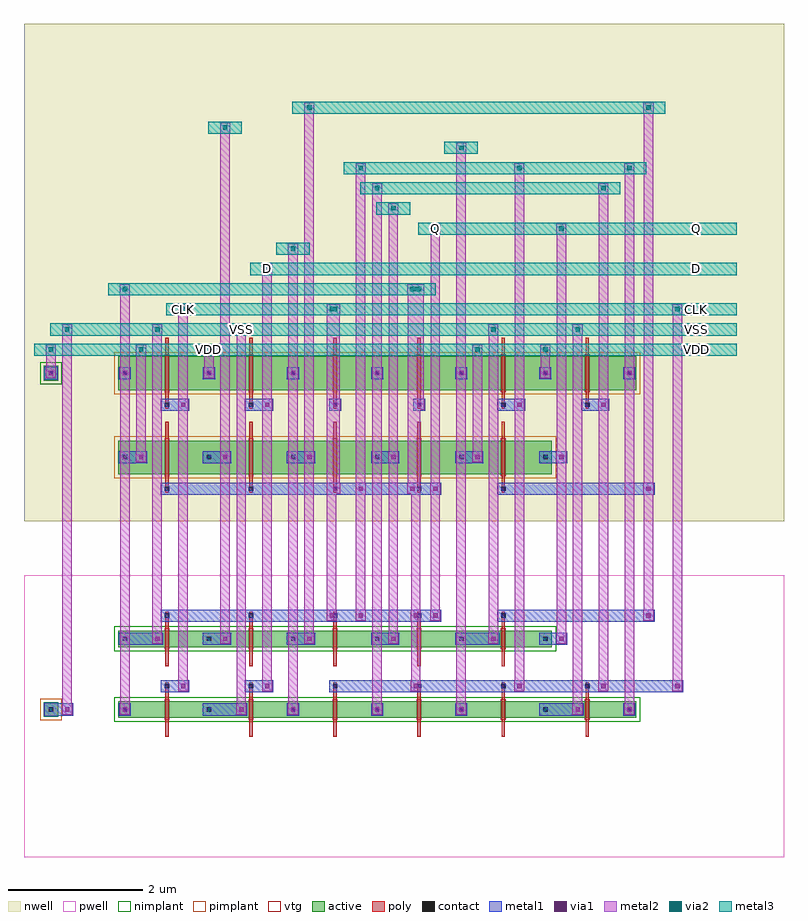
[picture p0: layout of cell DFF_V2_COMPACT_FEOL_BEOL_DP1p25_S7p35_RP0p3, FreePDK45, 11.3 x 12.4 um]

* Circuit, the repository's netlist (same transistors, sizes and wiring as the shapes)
* cell DFF_V2_COMPACT_FEOL_BEOL_DP1p25_S7p35_RP0p3
* pin D
* pin CLK,Q
* pin VDD
* pin VSS
.SUBCKT DFF_V2_COMPACT_FEOL_BEOL_DP1p25_S7p35_RP0p3 2 4 8 9
* net 2 D
* net 4 CLK,Q
* net 8 VDD
* net 9 VSS
* device instance $1 r0 *1 1.825,7 PMOS_VTG
M$1 8 4 4 8 PMOS_VTG L=0.05U W=1U AS=0.65P AD=0.65P PS=4.1U PD=4.1U
* device instance $2 r0 *1 3.075,7 PMOS_VTG
M$2 3 2 8 8 PMOS_VTG L=0.05U W=0.5U AS=0.3P AD=0.3P PS=1.7U PD=1.7U
* device instance $3 r0 *1 4.325,7 PMOS_VTG
M$3 4 4 3 8 PMOS_VTG L=0.05U W=0.5U AS=0.3P AD=0.3P PS=1.7U PD=1.7U
* device instance $4 r0 *1 5.575,7 PMOS_VTG
M$4 1 4 4 8 PMOS_VTG L=0.05U W=0.5U AS=0.3P AD=0.3P PS=1.7U PD=1.7U
* device instance $5 r0 *1 6.825,7 PMOS_VTG
M$5 8 4 1 8 PMOS_VTG L=0.05U W=0.5U AS=0.3P AD=0.3P PS=1.7U PD=1.7U
* device instance $7 r0 *1 1.825,5.75 PMOS_VTG
M$7 5 4 8 8 PMOS_VTG L=0.05U W=0.5U AS=0.35P AD=0.3P PS=2.4U PD=1.7U
* device instance $8 r0 *1 3.075,5.75 PMOS_VTG
M$8 6 4 5 8 PMOS_VTG L=0.05U W=0.5U AS=0.3P AD=0.3P PS=1.7U PD=1.7U
* device instance $9 r0 *1 4.325,5.75 PMOS_VTG
M$9 7 4 6 8 PMOS_VTG L=0.05U W=0.5U AS=0.3P AD=0.3P PS=1.7U PD=1.7U
* device instance $10 r0 *1 5.575,5.75 PMOS_VTG
M$10 8 4 7 8 PMOS_VTG L=0.05U W=0.5U AS=0.3P AD=0.3P PS=1.7U PD=1.7U
* device instance $11 r0 *1 6.825,5.75 PMOS_VTG
M$11 4 6 8 8 PMOS_VTG L=0.05U W=0.5U AS=0.3P AD=0.35P PS=1.7U PD=2.4U
* device instance $12 r0 *1 1.825,3.05 NMOS_VTG
M$12 5 4 9 9 NMOS_VTG L=0.05U W=0.25U AS=0.175P AD=0.15P PS=1.9U PD=1.45U
* device instance $13 r0 *1 3.075,3.05 NMOS_VTG
M$13 6 4 5 9 NMOS_VTG L=0.05U W=0.25U AS=0.15P AD=0.15P PS=1.45U PD=1.45U
* device instance $14 r0 *1 4.325,3.05 NMOS_VTG
M$14 7 4 6 9 NMOS_VTG L=0.05U W=0.25U AS=0.15P AD=0.15P PS=1.45U PD=1.45U
* device instance $15 r0 *1 5.575,3.05 NMOS_VTG
M$15 9 4 7 9 NMOS_VTG L=0.05U W=0.25U AS=0.15P AD=0.15P PS=1.45U PD=1.45U
* device instance $16 r0 *1 6.825,3.05 NMOS_VTG
M$16 4 6 9 9 NMOS_VTG L=0.05U W=0.25U AS=0.15P AD=0.175P PS=1.45U PD=1.9U
* device instance $17 r0 *1 1.825,2 NMOS_VTG
M$17 9 4 4 9 NMOS_VTG L=0.05U W=0.5U AS=0.325P AD=0.325P PS=3.35U PD=3.35U
* device instance $18 r0 *1 3.075,2 NMOS_VTG
M$18 3 2 9 9 NMOS_VTG L=0.05U W=0.25U AS=0.15P AD=0.15P PS=1.45U PD=1.45U
* device instance $19 r0 *1 4.325,2 NMOS_VTG
M$19 4 4 3 9 NMOS_VTG L=0.05U W=0.25U AS=0.15P AD=0.15P PS=1.45U PD=1.45U
* device instance $20 r0 *1 5.575,2 NMOS_VTG
M$20 1 4 4 9 NMOS_VTG L=0.05U W=0.25U AS=0.15P AD=0.15P PS=1.45U PD=1.45U
* device instance $21 r0 *1 6.825,2 NMOS_VTG
M$21 9 4 1 9 NMOS_VTG L=0.05U W=0.25U AS=0.15P AD=0.15P PS=1.45U PD=1.45U
.ENDS DFF_V2_COMPACT_FEOL_BEOL_DP1p25_S7p35_RP0p3

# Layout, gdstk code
import gdstk
lib = gdstk.Library(unit=1e-6, precision=5e-10)
def R(c, l, rs):  # rectangles x0, y0, x1, y1
    for r in rs: c.add(gdstk.rectangle(r[:2], r[2:], *l))
def A(c, l, x, y, w, h, nx, ny, dx, dy):  # array of equal rectangles
    R(c, l, [(x+i*dx, y+j*dy, x+i*dx+w, y+j*dy+h) for i in range(nx) for j in range(ny)])
active = (1, 0)
pwell = (2, 0)
nwell = (3, 0)
nimplant = (4, 0)
pimplant = (5, 0)
vtg = (6, 0)
poly = (9, 0)
contact = (10, 0)
metal1 = (11, 0)
via1 = (12, 0)
metal2 = (13, 0)
via2 = (14, 0)
metal3 = (15, 0)

dff_v2_compact_feol_beol = lib.new_cell('DFF_V2_COMPACT_FEOL_BEOL_DP1p25_S7p35_RP0p3')
R(dff_v2_compact_feol_beol, active, [(1.1,1.875,8.8,2.125), (-0.01,1.89,0.21,2.11), (1.1,2.925,7.55,3.175), (1.1,5.5,7.55,6), (1.1,6.75,8.8,7.25), (-0.01,6.89,0.21,7.11)])
R(dff_v2_compact_feol_beol, pwell, [(-0.3,-0.2,11,4)])
R(dff_v2_compact_feol_beol, nwell, [(-0.3,4.8,11,12.2)])
R(dff_v2_compact_feol_beol, nimplant, [(1.04,1.815,8.86,2.185), (1.04,2.865,7.61,3.235), (-0.06,6.84,0.26,7.16)])
R(dff_v2_compact_feol_beol, pimplant, [(-0.06,1.84,0.26,2.16), (1.04,5.44,7.61,6.06), (1.04,6.69,8.86,7.31)])
A(dff_v2_compact_feol_beol, vtg, 1.79, 1.845, 0.07, 0.31, 6, 1, 1.25, 0)
A(dff_v2_compact_feol_beol, vtg, 1.79, 2.895, 0.07, 0.31, 5, 1, 1.25, 0)
A(dff_v2_compact_feol_beol, vtg, 1.79, 5.47, 0.07, 0.56, 5, 1, 1.25, 0)
A(dff_v2_compact_feol_beol, vtg, 1.79, 6.72, 0.07, 0.56, 6, 1, 1.25, 0)
A(dff_v2_compact_feol_beol, poly, 1.8, 1.595, 0.05, 0.81, 6, 1, 1.25, 0)
A(dff_v2_compact_feol_beol, poly, 1.8, 2.645, 0.05, 0.81, 5, 1, 1.25, 0)
A(dff_v2_compact_feol_beol, poly, 1.8, 5.22, 0.05, 1.06, 5, 1, 1.25, 0)
A(dff_v2_compact_feol_beol, poly, 1.8, 6.47, 0.05, 1.06, 6, 1, 1.25, 0)
A(dff_v2_compact_feol_beol, contact, 1.17, 1.97, 0.065, 0.065, 7, 2, 1.25, 5)
A(dff_v2_compact_feol_beol, contact, 1.795, 2.315, 0.065, 0.065, 6, 2, 1.25, 4.185)
A(dff_v2_compact_feol_beol, contact, 1.17, 3.02, 0.065, 0.065, 6, 2, 1.25, 2.7)
A(dff_v2_compact_feol_beol, contact, 1.795, 3.365, 0.065, 0.065, 5, 2, 1.25, 1.885)
R(dff_v2_compact_feol_beol, contact, [(0.07,1.97,0.135,2.035), (0.07,6.97,0.135,7.035)])
A(dff_v2_compact_feol_beol, metal1, 2.45, 2.96, 0.24, 0.18, 3, 1, 1.25, 0)
A(dff_v2_compact_feol_beol, metal1, 1.735, 5.19, 0.18, 0.18, 3, 1, 1.25, 0)
A(dff_v2_compact_feol_beol, metal1, 1.2, 5.66, 0.24, 0.18, 6, 1, 1.25, 0)
R(dff_v2_compact_feol_beol, metal1, [(0,1.9,0.2,2.1), (0.1,1.91,0.34,2.09), (0.25,1.91,0.43,2.09), (1.11,1.91,1.29,2.09), (1.11,1.91,1.29,2.09), (2.36,1.91,2.54,2.09), (2.45,1.91,2.93,2.09), (2.84,1.91,3.02,2.09), (3.61,1.91,3.79,2.09), (3.61,1.91,3.79,2.09), (4.86,1.91,5.04,2.09), (4.86,1.91,5.04,2.09), (6.11,1.91,6.29,2.09), (6.11,1.91,6.29,2.09), (7.36,1.91,7.54,2.09), (7.45,1.91,7.93,2.09), (7.84,1.91,8.02,2.09), (8.61,1.91,8.79,2.09), (8.61,1.91,8.79,2.09), (1.735,2.255,1.915,2.435), (1.825,2.255,2.065,2.435), (1.975,2.255,2.155,2.435), (2.985,2.255,3.165,2.435), (3.075,2.255,3.315,2.435), (3.225,2.255,3.405,2.435), (4.235,2.255,4.415,2.435), (4.325,2.255,5.525,2.435), (5.435,2.255,5.615,2.435), (5.485,2.255,5.665,2.435), (5.575,2.255,9.415,2.435), (6.735,2.255,6.915,2.435), (6.825,2.255,7.065,2.435), (6.975,2.255,7.155,2.435), (7.985,2.255,8.165,2.435), (8.075,2.255,8.315,2.435), (8.225,2.255,8.405,2.435), (9.325,2.255,9.505,2.435), (1.11,2.96,1.29,3.14), (1.2,2.96,1.68,3.14), (1.59,2.96,1.77,3.14), (2.36,2.96,2.54,3.14), (2.6,2.96,2.78,3.14), (3.61,2.96,3.79,3.14), (3.85,2.96,4.03,3.14), (4.86,2.96,5.04,3.14), (5.1,2.96,5.28,3.14), (6.11,2.96,6.29,3.14), (6.2,2.96,6.68,3.14), (6.59,2.96,6.77,3.14), (7.36,2.96,7.54,3.14), (7.45,2.96,7.69,3.14), (7.6,2.96,7.78,3.14), (1.735,3.305,1.915,3.485), (1.825,3.305,4.705,3.485), (2.985,3.305,3.165,3.485), (3.075,3.305,4.275,3.485), (4.185,3.305,4.365,3.485), (4.235,3.305,4.415,3.485), (4.325,3.305,5.525,3.485), (4.615,3.305,4.795,3.485), (5.435,3.305,5.615,3.485), (5.485,3.305,5.665,3.485), (5.575,3.305,5.815,3.485), (5.725,3.305,5.905,3.485), (6.735,3.305,6.915,3.485), (6.825,3.305,8.985,3.485), (8.895,3.305,9.075,3.485), (1.825,5.19,4.705,5.37), (3.075,5.19,5.475,5.37), (4.235,5.19,4.415,5.37), (4.615,5.19,4.795,5.37), (5.385,5.19,5.565,5.37), (5.485,5.19,5.665,5.37), (5.575,5.19,5.815,5.37), (5.725,5.19,5.905,5.37), (6.735,5.19,6.915,5.37), (6.825,5.19,8.985,5.37), (8.895,5.19,9.075,5.37), (1.11,5.66,1.29,5.84), (1.35,5.66,1.53,5.84), (2.36,5.66,2.54,5.84), (2.6,5.66,2.78,5.84), (3.61,5.66,3.79,5.84), (3.85,5.66,4.03,5.84), (4.86,5.66,5.04,5.84), (5.1,5.66,5.28,5.84), (6.11,5.66,6.29,5.84), (6.35,5.66,6.53,5.84), (7.36,5.66,7.54,5.84), (7.6,5.66,7.78,5.84), (1.735,6.44,1.915,6.62), (1.825,6.44,2.065,6.62), (1.975,6.44,2.155,6.62), (2.985,6.44,3.165,6.62), (3.075,6.44,3.315,6.62), (3.225,6.44,3.405,6.62), (4.235,6.44,4.415,6.62), (4.235,6.44,4.415,6.62), (5.485,6.44,5.665,6.62), (5.485,6.44,5.665,6.62), (6.735,6.44,6.915,6.62), (6.825,6.44,7.065,6.62), (6.975,6.44,7.155,6.62), (7.985,6.44,8.165,6.62), (8.075,6.44,8.315,6.62), (8.225,6.44,8.405,6.62), (0,6.9,0.2,7.1), (0.01,6.91,0.19,7.09), (1.11,6.91,1.29,7.09), (1.11,6.91,1.29,7.09), (2.36,6.91,2.54,7.09), (2.36,6.91,2.54,7.09), (3.61,6.91,3.79,7.09), (3.61,6.91,3.79,7.09), (4.86,6.91,5.04,7.09), (4.86,6.91,5.04,7.09), (6.11,6.91,6.29,7.09), (6.11,6.91,6.29,7.09), (7.36,6.91,7.54,7.09), (7.36,6.91,7.54,7.09), (8.61,6.91,8.79,7.09), (8.61,6.91,8.79,7.09)])
A(dff_v2_compact_feol_beol, via1, 3.67, 1.97, 0.065, 0.065, 3, 1, 1.25, 0)
A(dff_v2_compact_feol_beol, via1, 2.66, 3.02, 0.065, 0.065, 3, 1, 1.25, 0)
A(dff_v2_compact_feol_beol, via1, 1.41, 5.72, 0.065, 0.065, 6, 1, 1.25, 0)
A(dff_v2_compact_feol_beol, via1, 1.17, 6.97, 0.065, 0.065, 7, 1, 1.25, 0)
R(dff_v2_compact_feol_beol, via1, [(0.31,1.97,0.375,2.035), (1.17,1.97,1.235,2.035), (2.9,1.97,2.965,2.035), (7.9,1.97,7.965,2.035), (8.67,1.97,8.735,2.035), (2.035,2.315,2.1,2.38), (3.285,2.315,3.35,2.38), (5.495,2.315,5.56,2.38), (7.035,2.315,7.1,2.38), (8.285,2.315,8.35,2.38), (9.385,2.315,9.45,2.38), (1.65,3.02,1.715,3.085), (6.65,3.02,6.715,3.085), (7.66,3.02,7.725,3.085), (4.245,3.365,4.31,3.43), (4.675,3.365,4.74,3.43), (5.495,3.365,5.56,3.43), (5.785,3.365,5.85,3.43), (8.955,3.365,9.02,3.43), (4.295,5.25,4.36,5.315), (4.675,5.25,4.74,5.315), (5.445,5.25,5.51,5.315), (5.785,5.25,5.85,5.315), (8.955,5.25,9.02,5.315), (2.035,6.5,2.1,6.565), (3.285,6.5,3.35,6.565), (4.295,6.5,4.36,6.565), (5.545,6.5,5.61,6.565), (7.035,6.5,7.1,6.565), (8.285,6.5,8.35,6.565), (0.07,6.97,0.135,7.035)])
A(dff_v2_compact_feol_beol, metal2, 3.625, 1.925, 0.15, 0.15, 3, 1, 1.25, 0)
A(dff_v2_compact_feol_beol, metal2, 2.615, 2.975, 0.15, 0.15, 3, 1, 1.25, 0)
A(dff_v2_compact_feol_beol, metal2, 1.365, 5.675, 0.15, 0.15, 6, 1, 1.25, 0)
A(dff_v2_compact_feol_beol, metal2, 1.125, 6.925, 0.15, 0.15, 7, 1, 1.25, 0)
R(dff_v2_compact_feol_beol, metal2, [(0.265,1.925,0.415,2.075), (1.125,1.925,1.275,2.075), (2.855,1.925,3.005,2.075), (7.855,1.925,8.005,2.075), (8.625,1.925,8.775,2.075), (0.27,2,0.41,7.65), (1.13,2,1.27,8.25), (2.86,2,3,7.65), (3.63,2,3.77,8.85), (4.88,2,5.02,9.75), (6.13,2,6.27,10.35), (7.86,2,8,7.65), (8.63,2,8.77,10.05), (1.99,2.27,2.14,2.42), (3.24,2.27,3.39,2.42), (5.45,2.27,5.6,2.42), (6.99,2.27,7.14,2.42), (8.24,2.27,8.39,2.42), (9.34,2.27,9.49,2.42), (1.995,2.345,2.135,7.95), (3.245,2.345,3.385,8.55), (5.455,2.345,5.595,8.25), (6.995,2.345,7.135,10.05), (8.245,2.345,8.385,9.75), (9.345,2.345,9.485,7.95), (1.605,2.975,1.755,3.125), (6.605,2.975,6.755,3.125), (7.615,2.975,7.765,3.125), (1.61,3.05,1.75,7.65), (2.62,3.05,2.76,10.65), (3.87,3.05,4.01,10.95), (5.12,3.05,5.26,9.45), (6.61,3.05,6.75,7.65), (7.62,3.05,7.76,9.15), (4.2,3.32,4.35,3.47), (4.63,3.32,4.78,3.47), (5.45,3.32,5.6,3.47), (5.74,3.32,5.89,3.47), (8.91,3.32,9.06,3.47), (4.205,3.395,4.345,7.95), (4.635,3.395,4.775,10.05), (5.455,3.395,5.595,8.25), (5.745,3.395,5.885,9.15), (8.915,3.395,9.055,10.95), (4.25,5.205,4.4,5.355), (4.63,5.205,4.78,5.355), (5.4,5.205,5.55,5.355), (5.74,5.205,5.89,5.355), (8.91,5.205,9.06,5.355), (4.255,5.28,4.395,7.95), (4.635,5.28,4.775,10.05), (5.405,5.28,5.545,8.25), (5.745,5.28,5.885,9.15), (8.915,5.28,9.055,10.95), (1.37,5.75,1.51,7.35), (2.62,5.75,2.76,10.65), (3.87,5.75,4.01,10.95), (5.12,5.75,5.26,9.45), (6.37,5.75,6.51,7.35), (7.62,5.75,7.76,9.15), (1.99,6.455,2.14,6.605), (3.24,6.455,3.39,6.605), (4.25,6.455,4.4,6.605), (5.5,6.455,5.65,6.605), (6.99,6.455,7.14,6.605), (8.24,6.455,8.39,6.605), (1.995,6.53,2.135,7.95), (3.245,6.53,3.385,8.55), (4.255,6.53,4.395,7.95), (5.505,6.53,5.645,8.25), (6.995,6.53,7.135,10.05), (8.245,6.53,8.385,9.75), (0.025,6.925,0.175,7.075), (0.03,7,0.17,7.35), (1.13,7,1.27,8.25), (2.38,7,2.52,7.35), (3.63,7,3.77,8.85), (4.88,7,5.02,9.75), (6.13,7,6.27,10.35), (7.38,7,7.52,7.35), (8.63,7,8.77,10.05), (0.025,7.275,0.175,7.425), (1.365,7.275,1.515,7.425), (2.375,7.275,2.525,7.425), (6.365,7.275,6.515,7.425), (7.375,7.275,7.525,7.425), (0.265,7.575,0.415,7.725), (1.605,7.575,1.755,7.725), (2.855,7.575,3.005,7.725), (6.605,7.575,6.755,7.725), (7.855,7.575,8.005,7.725), (1.99,7.875,2.14,8.025), (1.99,7.875,2.14,8.025), (4.2,7.875,4.35,8.025), (4.25,7.875,4.4,8.025), (4.25,7.875,4.4,8.025), (9.34,7.875,9.49,8.025), (1.125,8.175,1.275,8.325), (1.125,8.175,1.275,8.325), (5.4,8.175,5.55,8.325), (5.45,8.175,5.6,8.325), (5.45,8.175,5.6,8.325), (5.5,8.175,5.65,8.325), (3.24,8.475,3.39,8.625), (3.24,8.475,3.39,8.625), (3.625,8.775,3.775,8.925), (3.625,8.775,3.775,8.925), (5.74,9.075,5.89,9.225), (5.74,9.075,5.89,9.225), (7.615,9.075,7.765,9.225), (7.615,9.075,7.765,9.225), (5.115,9.375,5.265,9.525), (5.115,9.375,5.265,9.525), (4.875,9.675,5.025,9.825), (4.875,9.675,5.025,9.825), (8.24,9.675,8.39,9.825), (8.24,9.675,8.39,9.825), (4.63,9.975,4.78,10.125), (4.63,9.975,4.78,10.125), (6.99,9.975,7.14,10.125), (6.99,9.975,7.14,10.125), (8.625,9.975,8.775,10.125), (8.625,9.975,8.775,10.125), (6.125,10.275,6.275,10.425), (6.125,10.275,6.275,10.425), (2.615,10.575,2.765,10.725), (2.615,10.575,2.765,10.725), (3.865,10.875,4.015,11.025), (3.865,10.875,4.015,11.025), (8.91,10.875,9.06,11.025), (8.91,10.875,9.06,11.025)])
R(dff_v2_compact_feol_beol, via2, [(0.07,7.32,0.135,7.385), (1.41,7.32,1.475,7.385), (2.42,7.32,2.485,7.385), (6.41,7.32,6.475,7.385), (7.42,7.32,7.485,7.385), (0.31,7.62,0.375,7.685), (1.65,7.62,1.715,7.685), (2.9,7.62,2.965,7.685), (6.65,7.62,6.715,7.685), (7.9,7.62,7.965,7.685), (2.035,7.92,2.1,7.985), (2.035,7.92,2.1,7.985), (4.245,7.92,4.31,7.985), (4.295,7.92,4.36,7.985), (4.295,7.92,4.36,7.985), (9.385,7.92,9.45,7.985), (1.17,8.22,1.235,8.285), (1.17,8.22,1.235,8.285), (5.445,8.22,5.51,8.285), (5.495,8.22,5.56,8.285), (5.495,8.22,5.56,8.285), (5.545,8.22,5.61,8.285), (3.285,8.52,3.35,8.585), (3.285,8.52,3.35,8.585), (3.67,8.82,3.735,8.885), (3.67,8.82,3.735,8.885), (5.785,9.12,5.85,9.185), (5.785,9.12,5.85,9.185), (7.66,9.12,7.725,9.185), (7.66,9.12,7.725,9.185), (5.16,9.42,5.225,9.485), (5.16,9.42,5.225,9.485), (4.92,9.72,4.985,9.785), (4.92,9.72,4.985,9.785), (8.285,9.72,8.35,9.785), (8.285,9.72,8.35,9.785), (4.675,10.02,4.74,10.085), (4.675,10.02,4.74,10.085), (7.035,10.02,7.1,10.085), (7.035,10.02,7.1,10.085), (8.67,10.02,8.735,10.085), (8.67,10.02,8.735,10.085), (6.17,10.32,6.235,10.385), (6.17,10.32,6.235,10.385), (2.66,10.62,2.725,10.685), (2.66,10.62,2.725,10.685), (3.91,10.92,3.975,10.985), (3.91,10.92,3.975,10.985), (8.955,10.92,9.02,10.985), (8.955,10.92,9.02,10.985)])
R(dff_v2_compact_feol_beol, metal3, [(-0.15,7.26,7.7,7.44), (7.7,7.26,10.3,7.44), (0.025,7.275,0.175,7.425), (1.365,7.275,1.515,7.425), (2.375,7.275,2.525,7.425), (6.365,7.275,6.515,7.425), (7.375,7.275,7.525,7.425), (0.09,7.56,8.18,7.74), (8.18,7.56,10.3,7.74), (0.265,7.575,0.415,7.725), (1.605,7.575,1.755,7.725), (2.855,7.575,3.005,7.725), (6.605,7.575,6.755,7.725), (7.855,7.575,8.005,7.725), (1.815,7.86,9.665,8.04), (9.665,7.86,10.3,8.04), (1.99,7.875,2.14,8.025), (1.99,7.875,2.14,8.025), (4.2,7.875,4.35,8.025), (4.25,7.875,4.4,8.025), (4.25,7.875,4.4,8.025), (9.34,7.875,9.49,8.025), (0.95,8.16,5.825,8.34), (1.125,8.175,1.275,8.325), (1.125,8.175,1.275,8.325), (5.4,8.175,5.55,8.325), (5.45,8.175,5.6,8.325), (5.45,8.175,5.6,8.325), (5.5,8.175,5.65,8.325), (3.065,8.46,3.565,8.64), (3.565,8.46,10.3,8.64), (3.24,8.475,3.39,8.625), (3.24,8.475,3.39,8.625), (3.45,8.76,3.95,8.94), (3.625,8.775,3.775,8.925), (3.625,8.775,3.775,8.925), (5.565,9.06,7.94,9.24), (7.94,9.06,10.3,9.24), (5.74,9.075,5.89,9.225), (5.74,9.075,5.89,9.225), (7.615,9.075,7.765,9.225), (7.615,9.075,7.765,9.225), (4.94,9.36,5.44,9.54), (5.115,9.375,5.265,9.525), (5.115,9.375,5.265,9.525), (4.7,9.66,8.565,9.84), (4.875,9.675,5.025,9.825), (4.875,9.675,5.025,9.825), (8.24,9.675,8.39,9.825), (8.24,9.675,8.39,9.825), (4.455,9.96,8.95,10.14), (4.63,9.975,4.78,10.125), (4.63,9.975,4.78,10.125), (6.99,9.975,7.14,10.125), (6.99,9.975,7.14,10.125), (8.625,9.975,8.775,10.125), (8.625,9.975,8.775,10.125), (5.95,10.26,6.45,10.44), (6.125,10.275,6.275,10.425), (6.125,10.275,6.275,10.425), (2.44,10.56,2.94,10.74), (2.615,10.575,2.765,10.725), (2.615,10.575,2.765,10.725), (3.69,10.86,9.235,11.04), (3.865,10.875,4.015,11.025), (3.865,10.875,4.015,11.025), (8.91,10.875,9.06,11.025), (8.91,10.875,9.06,11.025)])
dff_v2_compact_feol_beol.add(gdstk.Label('VDD', (9.7,7.35), layer=15, texttype=0))
dff_v2_compact_feol_beol.add(gdstk.Label('VDD', (9.7,7.35), layer=15, texttype=1))
dff_v2_compact_feol_beol.add(gdstk.Label('VDD', (9.7,7.35), layer=15, texttype=2))
dff_v2_compact_feol_beol.add(gdstk.Label('VDD', (2.45,7.35), layer=13, texttype=0))
dff_v2_compact_feol_beol.add(gdstk.Label('VDD', (2.45,7.35), layer=13, texttype=1))
dff_v2_compact_feol_beol.add(gdstk.Label('VDD', (2.45,7.35), layer=13, texttype=2))
dff_v2_compact_feol_beol.add(gdstk.Label('VSS', (9.7,7.65), layer=15, texttype=0))
dff_v2_compact_feol_beol.add(gdstk.Label('VSS', (9.7,7.65), layer=15, texttype=1))
dff_v2_compact_feol_beol.add(gdstk.Label('VSS', (9.7,7.65), layer=15, texttype=2))
dff_v2_compact_feol_beol.add(gdstk.Label('VSS', (2.93,7.65), layer=13, texttype=0))
dff_v2_compact_feol_beol.add(gdstk.Label('VSS', (2.93,7.65), layer=13, texttype=1))
dff_v2_compact_feol_beol.add(gdstk.Label('VSS', (2.93,7.65), layer=13, texttype=2))
dff_v2_compact_feol_beol.add(gdstk.Label('CLK', (9.7,7.95), layer=15, texttype=0))
dff_v2_compact_feol_beol.add(gdstk.Label('CLK', (9.7,7.95), layer=15, texttype=1))
dff_v2_compact_feol_beol.add(gdstk.Label('CLK', (9.7,7.95), layer=15, texttype=2))
dff_v2_compact_feol_beol.add(gdstk.Label('CLK', (2.065,7.95), layer=13, texttype=0))
dff_v2_compact_feol_beol.add(gdstk.Label('CLK', (2.065,7.95), layer=13, texttype=1))
dff_v2_compact_feol_beol.add(gdstk.Label('CLK', (2.065,7.95), layer=13, texttype=2))
dff_v2_compact_feol_beol.add(gdstk.Label('D', (9.7,8.55), layer=15, texttype=0))
dff_v2_compact_feol_beol.add(gdstk.Label('D', (9.7,8.55), layer=15, texttype=1))
dff_v2_compact_feol_beol.add(gdstk.Label('D', (9.7,8.55), layer=15, texttype=2))
dff_v2_compact_feol_beol.add(gdstk.Label('D', (3.315,8.55), layer=13, texttype=0))
dff_v2_compact_feol_beol.add(gdstk.Label('D', (3.315,8.55), layer=13, texttype=1))
dff_v2_compact_feol_beol.add(gdstk.Label('D', (3.315,8.55), layer=13, texttype=2))
dff_v2_compact_feol_beol.add(gdstk.Label('Q', (9.7,9.15), layer=15, texttype=0))
dff_v2_compact_feol_beol.add(gdstk.Label('Q', (9.7,9.15), layer=15, texttype=1))
dff_v2_compact_feol_beol.add(gdstk.Label('Q', (9.7,9.15), layer=15, texttype=2))
dff_v2_compact_feol_beol.add(gdstk.Label('Q', (5.815,9.15), layer=13, texttype=0))
dff_v2_compact_feol_beol.add(gdstk.Label('Q', (5.815,9.15), layer=13, texttype=1))
dff_v2_compact_feol_beol.add(gdstk.Label('Q', (5.815,9.15), layer=13, texttype=2))

lib.write_gds('DFF_V2_COMPACT_FEOL_BEOL_DP1p25_S7p35_RP0p3.gds')
